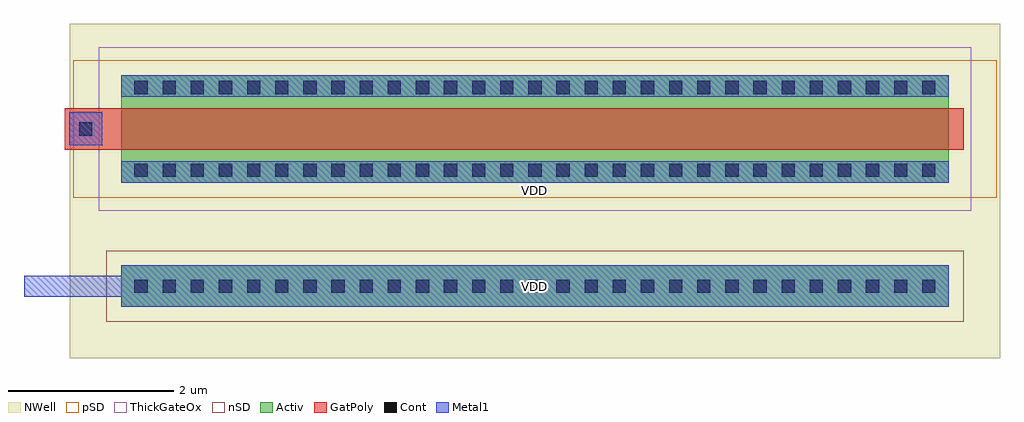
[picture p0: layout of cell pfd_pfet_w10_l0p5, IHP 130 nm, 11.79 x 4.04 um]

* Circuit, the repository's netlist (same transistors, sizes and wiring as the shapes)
* extracted by klt extract --deck sg13cmos5l

* cell pfd_pfet_w10_l0p5
* pin VDD
.SUBCKT pfd_pfet_w10_l0p5 VDD
* device instance $1 r0 *1 6.3,3.11 pfet
X$1 \$4 \$3 \$2 VDD sg13_hv_pmos L=0.5U W=10U AS=4P AD=4P PS=20.8U PD=20.8U
.ENDS pfd_pfet_w10_l0p5

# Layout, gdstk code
import gdstk
lib = gdstk.Library(unit=1e-6, precision=1e-09)
def R(c, l, rs):  # rectangles x0, y0, x1, y1
    for r in rs: c.add(gdstk.rectangle(r[:2], r[2:], *l))
def A(c, l, x, y, w, h, nx, ny, dx, dy):  # array of equal rectangles
    R(c, l, [(x+i*dx, y+j*dy, x+i*dx+w, y+j*dy+h) for i in range(nx) for j in range(ny)])
Activ = (1, 0)
GatPoly = (5, 0)
Cont = (6, 0)
nSD = (7, 0)
Metal1 = (8, 0)
pSD = (14, 0)
NWell = (31, 0)
ThickGateOx = (44, 0)

pfd_pfet_w10_l0p5 = lib.new_cell('pfd_pfet_w10_l0p5')
R(pfd_pfet_w10_l0p5, Activ, [(1.3,0.96,11.3,1.46), (1.3,2.46,11.3,3.76)])
R(pfd_pfet_w10_l0p5, GatPoly, [(0.62,2.86,1.12,3.36), (1.12,2.86,11.48,3.36)])
A(pfd_pfet_w10_l0p5, Cont, 1.46, 1.13, 0.16, 0.16, 29, 2, 0.34, 1.4)
A(pfd_pfet_w10_l0p5, Cont, 1.46, 3.53, 0.16, 0.16, 29, 1, 0.34, 0)
R(pfd_pfet_w10_l0p5, Cont, [(0.79,3.03,0.95,3.19)])
R(pfd_pfet_w10_l0p5, nSD, [(1.12,0.78,11.48,1.64)])
R(pfd_pfet_w10_l0p5, Metal1, [(1.3,0.96,11.3,1.46), (0.125,1.085,1.3,1.335), (1.3,2.46,11.3,2.72), (0.67,2.91,1.07,3.31), (1.3,3.5,11.3,3.76)])
R(pfd_pfet_w10_l0p5, pSD, [(0.72,2.28,11.88,3.94)])
R(pfd_pfet_w10_l0p5, NWell, [(0.68,0.34,11.92,4.38)])
R(pfd_pfet_w10_l0p5, ThickGateOx, [(1.03,2.12,11.57,4.1)])
pfd_pfet_w10_l0p5.add(gdstk.Label('VDD', (6.3,1.21), layer=8, texttype=2))
pfd_pfet_w10_l0p5.add(gdstk.Label('VDD', (6.3,2.36), layer=31, texttype=2))

lib.write_gds('pfd_pfet_w10_l0p5.gds')
